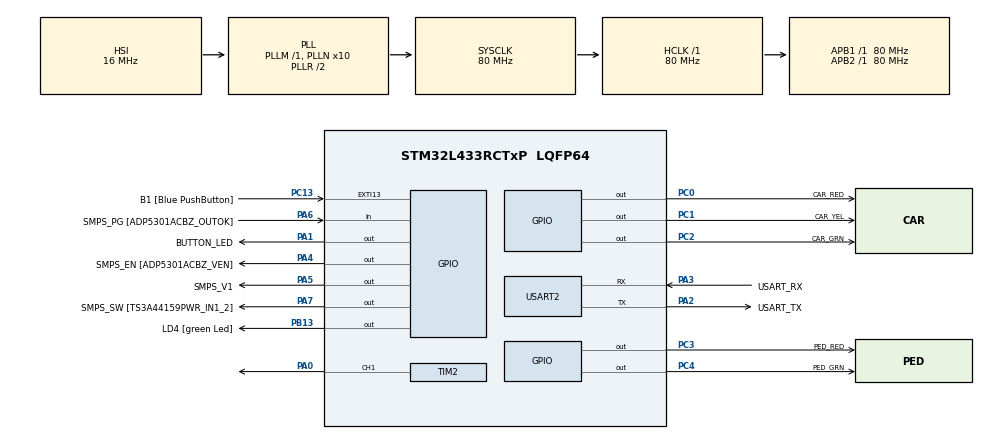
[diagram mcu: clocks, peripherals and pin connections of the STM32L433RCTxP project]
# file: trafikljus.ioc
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Mcu.Family=STM32L4
Mcu.Name=STM32L433RCTxP
Mcu.Package=LQFP64
NVIC.EXTI15_10_IRQn=true\:0\:0\:false\:false\:true\:true\:true\:true
NVIC.PriorityGroup=NVIC_PRIORITYGROUP_4
PA0.Signal=S_TIM2_CH1
PA1.GPIO_Label=BUTTON_LED
PA1.Signal=GPIO_Output
PA13\ (JTMS-SWDIO).GPIO_Label=TMS
PA13\ (JTMS-SWDIO).Mode=Serial_Wire
PA13\ (JTMS-SWDIO).Signal=SYS_JTMS-SWDIO
PA14\ (JTCK-SWCLK).GPIO_Label=TCK
PA14\ (JTCK-SWCLK).Mode=Serial_Wire
PA14\ (JTCK-SWCLK).Signal=SYS_JTCK-SWCLK
PA2.GPIO_Label=USART_TX
PA2.GPIO_Mode=GPIO_MODE_AF_PP
PA2.GPIO_PuPd=GPIO_NOPULL
PA2.GPIO_Speed=GPIO_SPEED_FREQ_VERY_HIGH
PA2.Mode=Asynchronous
PA2.Signal=USART2_TX
PA3.GPIO_Label=USART_RX
PA3.GPIO_Mode=GPIO_MODE_AF_PP
PA3.GPIO_PuPd=GPIO_NOPULL
PA3.GPIO_Speed=GPIO_SPEED_FREQ_VERY_HIGH
PA3.Mode=Asynchronous
PA3.Signal=USART2_RX
PA4.GPIO_Label=SMPS_EN [ADP5301ACBZ_VEN]
PA4.Signal=GPIO_Output
PA5.GPIO_Label=SMPS_V1
PA5.GPIO_ModeDefaultOutputPP=GPIO_MODE_OUTPUT_PP
PA5.GPIO_PuPd=GPIO_NOPULL
PA5.GPIO_Speed=GPIO_SPEED_FREQ_LOW
PA5.Signal=GPIO_Output
PA6.GPIO_Label=SMPS_PG [ADP5301ACBZ_OUTOK]
PA6.GPIO_PuPd=GPIO_PULLUP
PA6.Signal=GPIO_Input
PA7.GPIO_Label=SMPS_SW [TS3A44159PWR_IN1_2]
PA7.Signal=GPIO_Output
PB13.GPIO_Label=LD4 [green Led]
PB13.Signal=GPIO_Output
PB3\ (JTDO-TRACESWO).GPIO_Label=SWO
PB3\ (JTDO-TRACESWO).Signal=SYS_JTDO-SWO
PC0.GPIO_Label=CAR_RED
PC0.Signal=GPIO_Output
PC1.GPIO_Label=CAR_YEL
PC1.Signal=GPIO_Output
PC13.GPIO_Label=B1 [Blue PushButton]
PC13.GPIO_ModeDefaultEXTI=GPIO_MODE_IT_FALLING
PC13.GPIO_PuPd=GPIO_NOPULL
PC13.Signal=GPXTI13
PC14-OSC32_IN\ (PC14).Mode=LSE-External-Oscillator
PC14-OSC32_IN\ (PC14).Signal=RCC_OSC32_IN
PC15-OSC32_OUT\ (PC15).Mode=LSE-External-Oscillator
PC15-OSC32_OUT\ (PC15).Signal=RCC_OSC32_OUT
PC2.GPIO_Label=CAR_GRN
PC2.Signal=GPIO_Output
PC3.GPIO_Label=PED_RED
PC3.Signal=GPIO_Output
PC4.GPIO_Label=PED_GRN
PC4.Signal=GPIO_Output
PH0-OSC_IN\ (PH0).GPIO_Label=MCO
PH0-OSC_IN\ (PH0).Mode=HSE-External-Clock-Source
PH0-OSC_IN\ (PH0).Signal=RCC_OSC_IN
PH1-OSC_OUT\ (PH1).Signal=RCC_OSC_OUT
ProjectManager.HeapSize=0x200
ProjectManager.StackSize=0x400
ProjectManager.TargetToolchain=STM32CubeIDE
RCC.ADCFreq_Value=64000000
RCC.AHBFreq_Value=80000000
RCC.APB1Freq_Value=80000000
RCC.APB1TimFreq_Value=80000000
RCC.APB2Freq_Value=80000000
RCC.APB2TimFreq_Value=80000000
RCC.CortexFreq_Value=80000000
RCC.HCLKFreq_Value=80000000
RCC.HSE_VALUE=8000000
RCC.HSI48_VALUE=48000000
RCC.HSI_VALUE=16000000
RCC.MSI_VALUE=4000000
RCC.PLLN=10
RCC.PLLSourceVirtual=RCC_PLLSOURCE_HSI
RCC.PREFETCH_ENABLE=1
RCC.SYSCLKFreq_VALUE=80000000
RCC.SYSCLKSource=RCC_SYSCLKSOURCE_PLLCLK
RCC.USBFreq_Value=64000000
RCC.VCOOutputFreq_Value=160000000
SH.S_TIM2_CH1.0=TIM2_CH1,PWM Generation1 CH1
TIM2.Channel-PWM\ Generation1\ CH1=TIM_CHANNEL_1
USART2.VirtualMode-Asynchronous=VM_ASYNC
VP_TIM2_VS_ClockSourceINT.Mode=Internal
board=NUCLEO-L433RC-P

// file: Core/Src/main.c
/* USER CODE BEGIN Header */
/**
  ******************************************************************************
  * @file           : main.c
  * @brief          : Main program body
  ******************************************************************************
  * @attention
  *
  * Copyright (c) 2026 STMicroelectronics.
  * All rights reserved.
  *
  * This software is licensed under terms that can be found in the LICENSE file
  * in the root directory of this software component.
  * If no LICENSE file comes with this software, it is provided AS-IS.
  *
  ******************************************************************************
  */
/* USER CODE END Header */
#include "main.h"

/* USER CODE BEGIN Includes */
#include "abuzz.h"

/* USER CODE END Includes */

TIM_HandleTypeDef htim2;

UART_HandleTypeDef huart2;

void SystemClock_Config(void);
static void MX_GPIO_Init(void);
static void MX_USART2_UART_Init(void);
static void MX_TIM2_Init(void);

/* USER CODE BEGIN 0 */

enum event
{
	ev_none,
	ev_button_push,
	ev_state_timeout,
	ev_error = -99
};

#define EVQ_SIZE 10

enum event evq[EVQ_SIZE];
int evq_count = 0;      // hur många events som finns i
int evq_front_ix = 0;  // början av kön
int evq_rear_ix = 0;   // slutet av kön

enum state
{
	s_init,
	s_car_go,
	s_pushed_wait,
	s_cars_stopping,
	s_everyone_stop,
	s_pedestrians_go,
	s_pedestrians_stop,
	s_car_starting
};

void set_traffic_lights(enum state s)
{
	switch(s)
	{
	    case s_init:
	    	HAL_GPIO_WritePin(CAR_RED_GPIO_Port, CAR_RED_Pin, GPIO_PIN_SET);
	    	HAL_GPIO_WritePin(CAR_YEL_GPIO_Port, CAR_YEL_Pin, GPIO_PIN_SET);
	    	HAL_GPIO_WritePin(CAR_GRN_GPIO_Port, CAR_GRN_Pin, GPIO_PIN_SET);
	    	HAL_GPIO_WritePin(PED_RED_GPIO_Port, PED_RED_Pin, GPIO_PIN_SET);
	    	HAL_GPIO_WritePin(PED_GRN_GPIO_Port, PED_GRN_Pin, GPIO_PIN_SET);
	    	break;

	    case s_everyone_stop:
	    	HAL_GPIO_WritePin(CAR_RED_GPIO_Port, CAR_RED_Pin, GPIO_PIN_SET);
	       	HAL_GPIO_WritePin(CAR_YEL_GPIO_Port, CAR_YEL_Pin, GPIO_PIN_RESET);
	  	    HAL_GPIO_WritePin(CAR_GRN_GPIO_Port, CAR_GRN_Pin, GPIO_PIN_RESET);
	      	HAL_GPIO_WritePin(PED_RED_GPIO_Port, PED_RED_Pin, GPIO_PIN_SET);
	     	HAL_GPIO_WritePin(PED_GRN_GPIO_Port, PED_GRN_Pin, GPIO_PIN_RESET);
	     	break;

	    case s_car_go:
	    	HAL_GPIO_WritePin(CAR_RED_GPIO_Port, CAR_RED_Pin, GPIO_PIN_RESET);
	    	HAL_GPIO_WritePin(CAR_YEL_GPIO_Port, CAR_YEL_Pin, GPIO_PIN_RESET);
	    	HAL_GPIO_WritePin(CAR_GRN_GPIO_Port, CAR_GRN_Pin, GPIO_PIN_SET);
	    	HAL_GPIO_WritePin(PED_RED_GPIO_Port, PED_RED_Pin, GPIO_PIN_SET);
	    	HAL_GPIO_WritePin(PED_GRN_GPIO_Port, PED_GRN_Pin, GPIO_PIN_RESET);
	    	break;

	    case s_pushed_wait:
	    	HAL_GPIO_WritePin(CAR_RED_GPIO_Port, CAR_RED_Pin, GPIO_PIN_RESET);
	    	HAL_GPIO_WritePin(CAR_YEL_GPIO_Port, CAR_YEL_Pin, GPIO_PIN_RESET);
	      	HAL_GPIO_WritePin(CAR_GRN_GPIO_Port, CAR_GRN_Pin, GPIO_PIN_SET);
	       	HAL_GPIO_WritePin(PED_RED_GPIO_Port, PED_RED_Pin, GPIO_PIN_SET);
	       	HAL_GPIO_WritePin(PED_GRN_GPIO_Port, PED_GRN_Pin, GPIO_PIN_RESET);
	       	break;

	    case s_cars_stopping:
	    	HAL_GPIO_WritePin(CAR_RED_GPIO_Port, CAR_RED_Pin, GPIO_PIN_RESET);
	       	HAL_GPIO_WritePin(CAR_YEL_GPIO_Port, CAR_YEL_Pin, GPIO_PIN_SET);
	       	HAL_GPIO_WritePin(CAR_GRN_GPIO_Port, CAR_GRN_Pin, GPIO_PIN_RESET);
	       	HAL_GPIO_WritePin(PED_RED_GPIO_Port, PED_RED_Pin, GPIO_PIN_SET);
	       	HAL_GPIO_WritePin(PED_GRN_GPIO_Port, PED_GRN_Pin, GPIO_PIN_RESET);
	       	break;

	    case s_pedestrians_go:
	    	HAL_GPIO_WritePin(CAR_RED_GPIO_Port, CAR_RED_Pin, GPIO_PIN_SET);
	       	HAL_GPIO_WritePin(CAR_YEL_GPIO_Port, CAR_YEL_Pin, GPIO_PIN_RESET);
	       	HAL_GPIO_WritePin(CAR_GRN_GPIO_Port, CAR_GRN_Pin, GPIO_PIN_RESET);
	       	HAL_GPIO_WritePin(PED_RED_GPIO_Port, PED_RED_Pin, GPIO_PIN_RESET);
	       	HAL_GPIO_WritePin(PED_GRN_GPIO_Port, PED_GRN_Pin, GPIO_PIN_SET);
	       	break;

	    case s_pedestrians_stop:
	    	HAL_GPIO_WritePin(CAR_RED_GPIO_Port, CAR_RED_Pin, GPIO_PIN_SET);
	       	HAL_GPIO_WritePin(CAR_YEL_GPIO_Port, CAR_YEL_Pin, GPIO_PIN_RESET);
	       	HAL_GPIO_WritePin(CAR_GRN_GPIO_Port, CAR_GRN_Pin, GPIO_PIN_RESET);
	       	HAL_GPIO_WritePin(PED_RED_GPIO_Port, PED_RED_Pin, GPIO_PIN_SET);
	       	HAL_GPIO_WritePin(PED_GRN_GPIO_Port, PED_GRN_Pin, GPIO_PIN_RESET);
	       	break;

	    case s_car_starting:
	    	HAL_GPIO_WritePin(CAR_RED_GPIO_Port, CAR_RED_Pin, GPIO_PIN_SET);
	       	HAL_GPIO_WritePin(CAR_YEL_GPIO_Port, CAR_YEL_Pin, GPIO_PIN_SET);
	       	HAL_GPIO_WritePin(CAR_GRN_GPIO_Port, CAR_GRN_Pin, GPIO_PIN_RESET);
	       	HAL_GPIO_WritePin(PED_RED_GPIO_Port, PED_RED_Pin, GPIO_PIN_SET);
	       	HAL_GPIO_WritePin(PED_GRN_GPIO_Port, PED_GRN_Pin, GPIO_PIN_RESET);
	       	break;
	}
}

int is_button_pressed(void)
{
	uint32_t reg_reading = GPIOC -> IDR;
	uint32_t button_mask = 0x01 << 13;

	return reg_reading & button_mask;
}

void push_button_light_on(void)
{
	HAL_GPIO_WritePin(BUTTON_LED_GPIO_Port, BUTTON_LED_Pin, GPIO_PIN_SET);
}

void push_button_light_off(void)
{
	HAL_GPIO_WritePin(BUTTON_LED_GPIO_Port, BUTTON_LED_Pin, GPIO_PIN_RESET);
}

void evq_init(void)  // går igenom alla 10 platser, sätter dom till ev_error vilket betyder att den inte innehåller några riktiga events.
{
	for(int i = 0; i < EVQ_SIZE; i++)
	{
		evq[i] = ev_error;
	}
}

void evq_push_back(enum event e)
{
	if(evq_count < EVQ_SIZE)  // ignorerar nya eventet om kön är full
	{
		evq[evq_rear_ix] = e;

		evq_rear_ix++;
		evq_rear_ix %= EVQ_SIZE; //gör att index går tillbaks till 0 efter plats 9

		evq_count++;
	}
}

enum event evq_pop_front(void)
{
	enum event e = ev_none;

	if(evq_count > 0)
	{
		e = evq[evq_front_ix];

		evq[evq_front_ix] = ev_error;

		evq_front_ix++;
		evq_front_ix %= EVQ_SIZE;

		evq_count--;
	}

	return e;
}

void HAL_GPIO_EXTI_Callback(uint16_t GPIO_Pin)
{
	if(GPIO_Pin == B1_Pin)
	{

		evq_push_back(ev_button_push);
	}
}

uint32_t ticks_left_in_state = 0;

void my_systick_handler(void)
{
	if(ticks_left_in_state > 0)
	{
		ticks_left_in_state--;

		if(ticks_left_in_state == 0)
		{
			evq_push_back(ev_state_timeout);
		}
	}
}

/* USER CODE END 0 */

int main(void)
{

  /* USER CODE BEGIN 1 */

	enum state st = s_init;
	enum event ev = ev_none;

  /* USER CODE END 1 */

  /* MCU Configuration--------------------------------------------------------*/

  /* Reset of all peripherals, Initializes the Flash interface and the Systick. */
  HAL_Init();

  /* Configure the system clock */
  SystemClock_Config();

  /* Initialize all configured peripherals */
  MX_GPIO_Init();
  MX_USART2_UART_Init();
  MX_TIM2_Init();
  /* USER CODE BEGIN 2 */
  HAL_TIM_PWM_Start(&htim2, TIM_CHANNEL_1);
  abuzz_start();
  abuzz_p_long();

  int curr_press = is_button_pressed();
  int last_press = curr_press;

  uint32_t curr_tick = HAL_GetTick();
  uint32_t last_tick = curr_tick;

  set_traffic_lights(st);  //ovanför deklarerar vi att st = s_init därför blir detta startvärde s_init

  evq_init();   // initierar kön innan while loopen körs
  /* USER CODE END 2 */

  /* Infinite loop */
  while (1)
  {

    /* USER CODE BEGIN 3 */
/*
	  ev = ev_none;

	  curr_press = is_button_pressed();

	  if(curr_press && !last_press)
	  {
		  ev = ev_button_push;
	  }

	  last_press = curr_press;

	  if(ev == ev_none)
	  {
		  curr_tick = HAL_GetTick();

		  if(curr_tick != last_tick)
		  {
			  last_tick = curr_tick;

			  if(ticks_left_in_state > 0)
			  {
				  ticks_left_in_state--;

				  if(ticks_left_in_state == 0)
				  {
					  ev = ev_state_timeout;
				  }
			  }
		  }
	  }
*/

	  ev = evq_pop_front();

	  switch(st)
	  {
	      case s_init:
	    	  if(ev == ev_button_push)
	    	  {
	    		  ev = ev_none;
	    		  st = s_everyone_stop;
	    		  ticks_left_in_state = 1000;
	    		  set_traffic_lights(s_everyone_stop);
	    	  }
	    	  break;

	      case s_everyone_stop:
	      	  if(ev == ev_state_timeout)
	       	  {
	       		  ev = ev_none;
	       		  st = s_pedestrians_go;
	       		  ticks_left_in_state = 5000;
	       		  set_traffic_lights(s_pedestrians_go);
	       		  push_button_light_off();
	       		  abuzz_p_short();
	       	  }
	       	  break;

	      case s_pedestrians_go:
	      	  if(ev == ev_state_timeout)
	       	  {
	       		  ev = ev_none;
	       		  st = s_pedestrians_stop;
	       		  ticks_left_in_state = 1000;
	       		  set_traffic_lights(s_pedestrians_stop);
	       		  abuzz_p_long();
	       	  }
	       	  break;

	      case s_pedestrians_stop:
	      	  if(ev == ev_state_timeout)
	       	  {
	      		  ev = ev_none;
	       		  st = s_car_starting;
	       		  ticks_left_in_state = 1000;
	       		  set_traffic_lights(s_car_starting);
	       	  }
	       	  break;

	      case s_car_starting:
	      	  if(ev == ev_state_timeout)
	       	  {
	       		  ev = ev_none;
	       		  st = s_car_go;
	       		  ticks_left_in_state = 0;
	      		  set_traffic_lights(s_car_go);
	       	  }
	       	  break;

	      case s_car_go:
	      	  if(ev == ev_button_push)
	       	  {
	       		  ev = ev_none;
	       		  st = s_pushed_wait;
	       		  ticks_left_in_state = 2000;
	       		  set_traffic_lights(s_pushed_wait);
	       		  push_button_light_on();
	       	  }
	       	  break;

	      case s_pushed_wait:
	      	  if(ev == ev_state_timeout)
	       	  {
	       		  ev = ev_none;
	       		  st = s_cars_stopping;
	       		  ticks_left_in_state = 1000;
	       		  set_traffic_lights(s_cars_stopping);
	       	  }
	       	  break;

	      case s_cars_stopping:
	      	  if(ev == ev_state_timeout)
	      	  {
	       		  ev = ev_none;
	       		  st = s_everyone_stop;
	       		  ticks_left_in_state = 1000;
	       		  set_traffic_lights(s_everyone_stop);
	       	  }
	       	  break;

	  }

  }
  /* USER CODE END 3 */
}

void SystemClock_Config(void)
{
  RCC_OscInitTypeDef RCC_OscInitStruct = {0};
  RCC_ClkInitTypeDef RCC_ClkInitStruct = {0};

  /** Configure the main internal regulator output voltage
  */
  if (HAL_PWREx_ControlVoltageScaling(PWR_REGULATOR_VOLTAGE_SCALE1) != HAL_OK)
  {
    Error_Handler();
  }

  /** Initializes the RCC Oscillators according to the specified parameters
  * in the RCC_OscInitTypeDef structure.
  */
  RCC_OscInitStruct.OscillatorType = RCC_OSCILLATORTYPE_HSI;
  RCC_OscInitStruct.HSIState = RCC_HSI_ON;
  RCC_OscInitStruct.HSICalibrationValue = RCC_HSICALIBRATION_DEFAULT;
  RCC_OscInitStruct.PLL.PLLState = RCC_PLL_ON;
  RCC_OscInitStruct.PLL.PLLSource = RCC_PLLSOURCE_HSI;
  RCC_OscInitStruct.PLL.PLLM = 1;
  RCC_OscInitStruct.PLL.PLLN = 10;
  RCC_OscInitStruct.PLL.PLLP = RCC_PLLP_DIV7;
  RCC_OscInitStruct.PLL.PLLQ = RCC_PLLQ_DIV2;
  RCC_OscInitStruct.PLL.PLLR = RCC_PLLR_DIV2;
  if (HAL_RCC_OscConfig(&RCC_OscInitStruct) != HAL_OK)
  {
    Error_Handler();
  }

  /** Initializes the CPU, AHB and APB buses clocks
  */
  RCC_ClkInitStruct.ClockType = RCC_CLOCKTYPE_HCLK|RCC_CLOCKTYPE_SYSCLK
                              |RCC_CLOCKTYPE_PCLK1|RCC_CLOCKTYPE_PCLK2;
  RCC_ClkInitStruct.SYSCLKSource = RCC_SYSCLKSOURCE_PLLCLK;
  RCC_ClkInitStruct.AHBCLKDivider = RCC_SYSCLK_DIV1;
  RCC_ClkInitStruct.APB1CLKDivider = RCC_HCLK_DIV1;
  RCC_ClkInitStruct.APB2CLKDivider = RCC_HCLK_DIV1;

  if (HAL_RCC_ClockConfig(&RCC_ClkInitStruct, FLASH_LATENCY_4) != HAL_OK)
  {
    Error_Handler();
  }
}

static void MX_TIM2_Init(void)
{

  TIM_ClockConfigTypeDef sClockSourceConfig = {0};
  TIM_MasterConfigTypeDef sMasterConfig = {0};
  TIM_OC_InitTypeDef sConfigOC = {0};

  htim2.Instance = TIM2;
  htim2.Init.Prescaler = 0;
  htim2.Init.CounterMode = TIM_COUNTERMODE_UP;
  htim2.Init.Period = 4294967295;
  htim2.Init.ClockDivision = TIM_CLOCKDIVISION_DIV1;
  htim2.Init.AutoReloadPreload = TIM_AUTORELOAD_PRELOAD_DISABLE;
  if (HAL_TIM_Base_Init(&htim2) != HAL_OK)
  {
    Error_Handler();
  }
  sClockSourceConfig.ClockSource = TIM_CLOCKSOURCE_INTERNAL;
  if (HAL_TIM_ConfigClockSource(&htim2, &sClockSourceConfig) != HAL_OK)
  {
    Error_Handler();
  }
  if (HAL_TIM_PWM_Init(&htim2) != HAL_OK)
  {
    Error_Handler();
  }
  sMasterConfig.MasterOutputTrigger = TIM_TRGO_RESET;
  sMasterConfig.MasterSlaveMode = TIM_MASTERSLAVEMODE_DISABLE;
  if (HAL_TIMEx_MasterConfigSynchronization(&htim2, &sMasterConfig) != HAL_OK)
  {
    Error_Handler();
  }
  sConfigOC.OCMode = TIM_OCMODE_PWM1;
  sConfigOC.Pulse = 0;
  sConfigOC.OCPolarity = TIM_OCPOLARITY_HIGH;
  sConfigOC.OCFastMode = TIM_OCFAST_DISABLE;
  if (HAL_TIM_PWM_ConfigChannel(&htim2, &sConfigOC, TIM_CHANNEL_1) != HAL_OK)
  {
    Error_Handler();
  }
  HAL_TIM_MspPostInit(&htim2);

}

static void MX_USART2_UART_Init(void)
{

  huart2.Instance = USART2;
  huart2.Init.BaudRate = 115200;
  huart2.Init.WordLength = UART_WORDLENGTH_8B;
  huart2.Init.StopBits = UART_STOPBITS_1;
  huart2.Init.Parity = UART_PARITY_NONE;
  huart2.Init.Mode = UART_MODE_TX_RX;
  huart2.Init.HwFlowCtl = UART_HWCONTROL_NONE;
  huart2.Init.OverSampling = UART_OVERSAMPLING_16;
  huart2.Init.OneBitSampling = UART_ONE_BIT_SAMPLE_DISABLE;
  huart2.AdvancedInit.AdvFeatureInit = UART_ADVFEATURE_NO_INIT;
  if (HAL_UART_Init(&huart2) != HAL_OK)
  {
    Error_Handler();
  }

}

static void MX_GPIO_Init(void)
{
  GPIO_InitTypeDef GPIO_InitStruct = {0};

  /* GPIO Ports Clock Enable */
  __HAL_RCC_GPIOC_CLK_ENABLE();
  __HAL_RCC_GPIOH_CLK_ENABLE();
  __HAL_RCC_GPIOA_CLK_ENABLE();
  __HAL_RCC_GPIOB_CLK_ENABLE();

  /*Configure GPIO pin Output Level */
  HAL_GPIO_WritePin(GPIOC, CAR_RED_Pin|CAR_YEL_Pin|CAR_GRN_Pin|PED_RED_Pin
                          |PED_GRN_Pin, GPIO_PIN_RESET);

  /*Configure GPIO pin Output Level */
  HAL_GPIO_WritePin(GPIOA, BUTTON_LED_Pin|SMPS_EN_Pin|SMPS_V1_Pin|SMPS_SW_Pin, GPIO_PIN_RESET);

  /*Configure GPIO pin Output Level */
  HAL_GPIO_WritePin(LD4_GPIO_Port, LD4_Pin, GPIO_PIN_RESET);

  /*Configure GPIO pin : B1_Pin */
  GPIO_InitStruct.Pin = B1_Pin;
  GPIO_InitStruct.Mode = GPIO_MODE_IT_FALLING;
  GPIO_InitStruct.Pull = GPIO_NOPULL;
  HAL_GPIO_Init(B1_GPIO_Port, &GPIO_InitStruct);

  /*Configure GPIO pins : CAR_RED_Pin CAR_YEL_Pin CAR_GRN_Pin PED_RED_Pin
                           PED_GRN_Pin */
  GPIO_InitStruct.Pin = CAR_RED_Pin|CAR_YEL_Pin|CAR_GRN_Pin|PED_RED_Pin
                          |PED_GRN_Pin;
  GPIO_InitStruct.Mode = GPIO_MODE_OUTPUT_PP;
  GPIO_InitStruct.Pull = GPIO_NOPULL;
  GPIO_InitStruct.Speed = GPIO_SPEED_FREQ_LOW;
  HAL_GPIO_Init(GPIOC, &GPIO_InitStruct);

  /*Configure GPIO pins : BUTTON_LED_Pin SMPS_EN_Pin SMPS_V1_Pin SMPS_SW_Pin */
  GPIO_InitStruct.Pin = BUTTON_LED_Pin|SMPS_EN_Pin|SMPS_V1_Pin|SMPS_SW_Pin;
  GPIO_InitStruct.Mode = GPIO_MODE_OUTPUT_PP;
  GPIO_InitStruct.Pull = GPIO_NOPULL;
  GPIO_InitStruct.Speed = GPIO_SPEED_FREQ_LOW;
  HAL_GPIO_Init(GPIOA, &GPIO_InitStruct);

  /*Configure GPIO pin : SMPS_PG_Pin */
  GPIO_InitStruct.Pin = SMPS_PG_Pin;
  GPIO_InitStruct.Mode = GPIO_MODE_INPUT;
  GPIO_InitStruct.Pull = GPIO_PULLUP;
  HAL_GPIO_Init(SMPS_PG_GPIO_Port, &GPIO_InitStruct);

  /*Configure GPIO pin : LD4_Pin */
  GPIO_InitStruct.Pin = LD4_Pin;
  GPIO_InitStruct.Mode = GPIO_MODE_OUTPUT_PP;
  GPIO_InitStruct.Pull = GPIO_NOPULL;
  GPIO_InitStruct.Speed = GPIO_SPEED_FREQ_LOW;
  HAL_GPIO_Init(LD4_GPIO_Port, &GPIO_InitStruct);

  /* EXTI interrupt init*/
  HAL_NVIC_SetPriority(EXTI15_10_IRQn, 0, 0);
  HAL_NVIC_EnableIRQ(EXTI15_10_IRQn);

}

void Error_Handler(void)
{
  __disable_irq();
  while (1)
  {
  }
}
